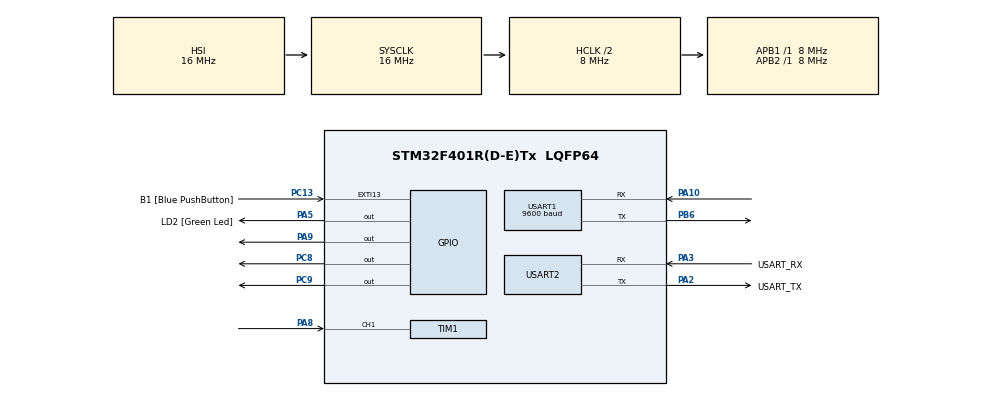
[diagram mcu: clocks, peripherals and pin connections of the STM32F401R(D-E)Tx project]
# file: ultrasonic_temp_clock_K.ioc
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Mcu.Family=STM32F4
Mcu.Name=STM32F401R(D-E)Tx
Mcu.Package=LQFP64
NVIC.PriorityGroup=NVIC_PRIORITYGROUP_0
NVIC.TIM1_CC_IRQn=true\:0\:0\:false\:false\:true\:true\:true\:true
PA10.Mode=Asynchronous
PA10.Signal=USART1_RX
PA13.GPIO_Label=TMS
PA13.Mode=Serial_Wire
PA13.Signal=SYS_JTMS-SWDIO
PA14.GPIO_Label=TCK
PA14.Mode=Serial_Wire
PA14.Signal=SYS_JTCK-SWCLK
PA2.GPIO_Label=USART_TX
PA2.GPIO_Mode=GPIO_MODE_AF_PP
PA2.GPIO_PuPd=GPIO_NOPULL
PA2.GPIO_Speed=GPIO_SPEED_FREQ_LOW
PA2.Mode=Asynchronous
PA2.Signal=USART2_TX
PA3.GPIO_Label=USART_RX
PA3.GPIO_Mode=GPIO_MODE_AF_PP
PA3.GPIO_PuPd=GPIO_NOPULL
PA3.GPIO_Speed=GPIO_SPEED_FREQ_LOW
PA3.Mode=Asynchronous
PA3.Signal=USART2_RX
PA5.GPIO_Label=LD2 [Green Led]
PA5.GPIO_Mode=GPIO_MODE_OUTPUT_PP
PA5.GPIO_PuPd=GPIO_NOPULL
PA5.GPIO_Speed=GPIO_SPEED_FREQ_LOW
PA5.Signal=GPIO_Output
PA8.Signal=S_TIM1_CH1
PA9.Signal=GPIO_Output
PB3.GPIO_Label=SWO
PB3.Signal=SYS_JTDO-SWO
PB6.Mode=Asynchronous
PB6.Signal=USART1_TX
PC13-ANTI_TAMP.GPIO_Label=B1 [Blue PushButton]
PC13-ANTI_TAMP.GPIO_ModeDefaultEXTI=GPIO_MODE_IT_FALLING
PC13-ANTI_TAMP.GPIO_PuPd=GPIO_NOPULL
PC13-ANTI_TAMP.Signal=GPXTI13
PC14-OSC32_IN.Mode=LSE-External-Oscillator
PC14-OSC32_IN.Signal=RCC_OSC32_IN
PC15-OSC32_OUT.Mode=LSE-External-Oscillator
PC15-OSC32_OUT.Signal=RCC_OSC32_OUT
PC8.Signal=GPIO_Output
PC9.Signal=GPIO_Output
PH0\ -\ OSC_IN.Mode=HSE-External-Oscillator
PH0\ -\ OSC_IN.Signal=RCC_OSC_IN
PH1\ -\ OSC_OUT.Mode=HSE-External-Oscillator
PH1\ -\ OSC_OUT.Signal=RCC_OSC_OUT
ProjectManager.HeapSize=0x200
ProjectManager.StackSize=0x400
ProjectManager.TargetToolchain=STM32CubeIDE
RCC.48MHZClocksFreq_Value=48000000
RCC.AHBCLKDivider=RCC_SYSCLK_DIV2
RCC.AHBFreq_Value=8000000
RCC.APB1Freq_Value=8000000
RCC.APB1TimFreq_Value=8000000
RCC.APB2Freq_Value=8000000
RCC.APB2TimFreq_Value=8000000
RCC.CortexFreq_Value=8000000
RCC.HCLKFreq_Value=8000000
RCC.HSE_VALUE=8000000
RCC.HSI_VALUE=16000000
RCC.PLLN=336
RCC.PLLP=RCC_PLLP_DIV4
RCC.PLLQ=7
RCC.SYSCLKFreq_VALUE=16000000
RCC.VCOOutputFreq_Value=336000000
SH.S_TIM1_CH1.0=TIM1_CH1,Input_Capture1_from_TI1
TIM1.Channel-Input_Capture1_from_TI1=TIM_CHANNEL_1
TIM1.Period=0xffff - 1
TIM1.Prescaler=8
USART1.BaudRate=9600
USART1.VirtualMode=VM_ASYNC
USART2.VirtualMode=VM_ASYNC
board=NUCLEO-F401RE

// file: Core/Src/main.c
/* USER CODE BEGIN Header */
/**
  ******************************************************************************
  * @file           : main.c
  * @brief          : Main program body
  ******************************************************************************
  * @attention
  *
  * Copyright (c) 2024 STMicroelectronics.
  * All rights reserved.
  *
  * This software is licensed under terms that can be found in the LICENSE file
  * in the root directory of this software component.
  * If no LICENSE file comes with this software, it is provided AS-IS.
  *
  ******************************************************************************
  */
/* USER CODE END Header */
#include "main.h"
#include "tim.h"
#include "usart.h"
#include "gpio.h"

/* USER CODE BEGIN Includes */

#include "Ultrasonic.h"

/* USER CODE END Includes */

/* USER CODE BEGIN PD */

uint16_t Catched_Dis = 0 ;

/* USER CODE END PD */

void SystemClock_Config(void);

int main(void)
{

  /* MCU Configuration--------------------------------------------------------*/

  /* Reset of all peripherals, Initializes the Flash interface and the Systick. */
  HAL_Init();

  /* Configure the system clock */
  SystemClock_Config();

  /* Initialize all configured peripherals */
  MX_GPIO_Init();
  MX_USART2_UART_Init();
  MX_TIM1_Init();
  MX_USART1_UART_Init();
  /* USER CODE BEGIN 2 */

  /*  ⚠�?used to set ICU interrupt   */
  HAL_TIM_IC_Start_IT(&htim1, TIM_CHANNEL_1);

  /* USER CODE END 2 */

  /* Infinite loop */
  /* USER CODE BEGIN WHILE */

  while (1)
  {
    Catched_Dis = Ultrasonic_Distance();

    uint16_t Num = Catched_Dis;
    uint16_t reversed_Num = 0 ;
     uint8_t I2S[6] = {};
     uint8_t Count_Num = 0;
     while(Num > 0)
     {
       reversed_Num *= 10 ;
       reversed_Num += Num %10 ;
       Num /= 10;
     }
     while(reversed_Num > 0)
     {
       I2S[Count_Num] = (reversed_Num % 10) + '0';
       reversed_Num /= 10;
       Count_Num++;
     }
     I2S[Count_Num] = '\0';

     HAL_UART_Transmit(&huart1,(uint8_t * )I2S,Count_Num,1000);

    /* USER CODE END WHILE */

  }
}

void SystemClock_Config(void)
{
  RCC_OscInitTypeDef RCC_OscInitStruct = {0};
  RCC_ClkInitTypeDef RCC_ClkInitStruct = {0};

  /** Configure the main internal regulator output voltage
  */
  __HAL_RCC_PWR_CLK_ENABLE();
  __HAL_PWR_VOLTAGESCALING_CONFIG(PWR_REGULATOR_VOLTAGE_SCALE2);

  /** Initializes the RCC Oscillators according to the specified parameters
  * in the RCC_OscInitTypeDef structure.
  */
  RCC_OscInitStruct.OscillatorType = RCC_OSCILLATORTYPE_HSI;
  RCC_OscInitStruct.HSIState = RCC_HSI_ON;
  RCC_OscInitStruct.HSICalibrationValue = RCC_HSICALIBRATION_DEFAULT;
  RCC_OscInitStruct.PLL.PLLState = RCC_PLL_NONE;
  if (HAL_RCC_OscConfig(&RCC_OscInitStruct) != HAL_OK)
  {
    Error_Handler();
  }

  /** Initializes the CPU, AHB and APB buses clocks
  */
  RCC_ClkInitStruct.ClockType = RCC_CLOCKTYPE_HCLK|RCC_CLOCKTYPE_SYSCLK
                              |RCC_CLOCKTYPE_PCLK1|RCC_CLOCKTYPE_PCLK2;
  RCC_ClkInitStruct.SYSCLKSource = RCC_SYSCLKSOURCE_HSI;
  RCC_ClkInitStruct.AHBCLKDivider = RCC_SYSCLK_DIV2;
  RCC_ClkInitStruct.APB1CLKDivider = RCC_HCLK_DIV1;
  RCC_ClkInitStruct.APB2CLKDivider = RCC_HCLK_DIV1;

  if (HAL_RCC_ClockConfig(&RCC_ClkInitStruct, FLASH_LATENCY_0) != HAL_OK)
  {
    Error_Handler();
  }
}

void Error_Handler(void)
{
  __disable_irq();
  while (1)
  {
  }
}
